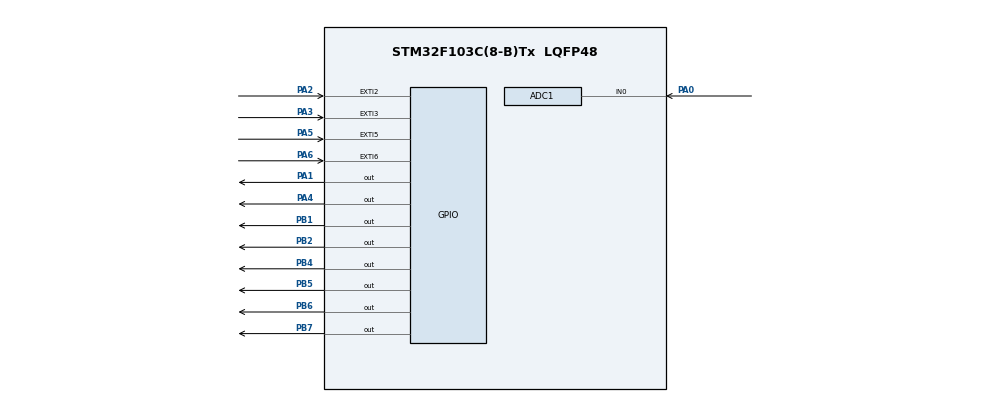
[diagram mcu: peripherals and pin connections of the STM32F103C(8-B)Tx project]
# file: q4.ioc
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ADC1.Channel-0\#ChannelRegularConversion=ADC_CHANNEL_0
ADC1.NbrOfConversionFlag=1
ADC1.Rank-0\#ChannelRegularConversion=1
ADC1.SamplingTime-0\#ChannelRegularConversion=ADC_SAMPLETIME_1CYCLE_5
ADC1.master=1
Mcu.Family=STM32F1
Mcu.Name=STM32F103C(8-B)Tx
Mcu.Package=LQFP48
NVIC.EXTI2_IRQn=true\:0\:0\:false\:false\:true\:true\:true\:true
NVIC.EXTI3_IRQn=true\:0\:0\:false\:false\:true\:true\:true\:true
NVIC.EXTI9_5_IRQn=true\:0\:0\:false\:false\:true\:true\:true\:true
NVIC.PriorityGroup=NVIC_PRIORITYGROUP_4
NVIC.TIM3_IRQn=true\:0\:0\:false\:false\:true\:true\:true\:true
PA0-WKUP.Signal=ADCx_IN0
PA1.Signal=GPIO_Output
PA2.GPIO_ModeDefaultEXTI=GPIO_MODE_IT_RISING_FALLING
PA2.Signal=GPXTI2
PA3.Signal=GPXTI3
PA4.Signal=GPIO_Output
PA5.GPIO_ModeDefaultEXTI=GPIO_MODE_IT_RISING_FALLING
PA5.Signal=GPXTI5
PA6.GPIO_ModeDefaultEXTI=GPIO_MODE_IT_RISING_FALLING
PA6.Signal=GPXTI6
PB1.Signal=GPIO_Output
PB2.Signal=GPIO_Output
PB4.Signal=GPIO_Output
PB5.Signal=GPIO_Output
PB6.Signal=GPIO_Output
PB7.Signal=GPIO_Output
ProjectManager.HeapSize=0x200
ProjectManager.StackSize=0x400
ProjectManager.TargetToolchain=STM32CubeIDE
RCC.APB1Freq_Value=8000000
RCC.APB2Freq_Value=8000000
SH.ADCx_IN0.0=ADC1_IN0,IN0
TIM3.Period=999
TIM3.Prescaler=7999
VP_SYS_VS_ND.Mode=No_Debug
VP_TIM3_VS_ClockSourceINT.Mode=Internal
board=custom

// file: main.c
/* USER CODE BEGIN Header */
/**
  ******************************************************************************
  * @file           : main.c
  * @brief          : Main program body (Q4 Part 2 - Optocounter)
  ******************************************************************************
  */
/* USER CODE END Header */
#include "main.h"

/* USER CODE BEGIN Includes */
#include "lcd.h"
#include <stdio.h>
/* USER CODE END Includes */

/* USER CODE BEGIN PD */
#define N_VALUE 28
#define PPR_VALUE 288
/* USER CODE END PD */

ADC_HandleTypeDef hadc1;

TIM_HandleTypeDef htim3;

/* USER CODE BEGIN PV */
volatile uint8_t update_display = 0;
char buffer1[16];
char buffer2[16];

// --- Part 2 Variables (Optocounter) ---
volatile uint32_t pulse_count = 0;
volatile float rpm = 0.0;

// --- Part 3 Variables (Encoder) ---
volatile int32_t encoder_ticks = 0;
volatile int32_t ticks_per_sec = 0;
volatile float enc_rpm = 0.0;
float angle_shaft = 0.0;

// LCD WIRING: RS=PB1, EN=PB2, D4-D7=PB4-PB7
Lcd_PortType ports[] = {GPIOB, GPIOB, GPIOB, GPIOB};
Lcd_PinType pins[] = {GPIO_PIN_4, GPIO_PIN_5, GPIO_PIN_6, GPIO_PIN_7};
Lcd_HandleTypeDef lcd;
/* USER CODE END PV */

void SystemClock_Config(void);
static void MX_GPIO_Init(void);
static void MX_ADC1_Init(void);
static void MX_TIM3_Init(void);

/* USER CODE BEGIN 0 */
// External Interrupt Callback (Counts Pulses on PA2)
void HAL_GPIO_EXTI_Callback(uint16_t GPIO_Pin) {

    // --- PART 2: Optocounter on PA2 ---
    if (GPIO_Pin == GPIO_PIN_2) {
        pulse_count++;
    }

    // --- PART 3: Encoder on PA5 and PA6 ---
    if (GPIO_Pin == GPIO_PIN_5 || GPIO_Pin == GPIO_PIN_6) {
        uint8_t state_A = HAL_GPIO_ReadPin(GPIOA, GPIO_PIN_5);
        uint8_t state_B = HAL_GPIO_ReadPin(GPIOA, GPIO_PIN_6);

        // Interrupt on Channel A (PA5)
        if (GPIO_Pin == GPIO_PIN_5) {
            if (state_A == state_B) { encoder_ticks++; ticks_per_sec++; }
            else { encoder_ticks--; ticks_per_sec--; }
        }

        // Interrupt on Channel B (PA6)
        if (GPIO_Pin == GPIO_PIN_6) {
            if (state_A != state_B) { encoder_ticks++; ticks_per_sec++; }
            else { encoder_ticks--; ticks_per_sec--; }
        }
    }
}

// Merged Timer Callback (Calculates both RPMs every 1 second)
void HAL_TIM_PeriodElapsedCallback(TIM_HandleTypeDef *htim) {
    if (htim->Instance == TIM3) {

        // --- PART 2 Math ---
        rpm = ((float)pulse_count * 60.0) / (float)N_VALUE;
        pulse_count = 0;

        // Optocounter LED Warning on PA4
        if (rpm > 500.0) {
            HAL_GPIO_TogglePin(GPIOA, GPIO_PIN_4);
        } else {
            HAL_GPIO_WritePin(GPIOA, GPIO_PIN_4, GPIO_PIN_RESET);
        }

        // --- PART 3 Math ---
        float tps = (ticks_per_sec < 0) ? -ticks_per_sec : ticks_per_sec;
        enc_rpm = (tps * 60.0) / (4.0 * PPR_VALUE);
        ticks_per_sec = 0;

        // Trigger Display Update
        update_display = 1;
    }
}
/* USER CODE END 0 */

int main(void)
{

  /* MCU Configuration--------------------------------------------------------*/

  /* Reset of all peripherals, Initializes the Flash interface and the Systick. */
  HAL_Init();

  /* Configure the system clock */
  SystemClock_Config();

  /* Initialize all configured peripherals */
  MX_GPIO_Init();
  MX_ADC1_Init();
  MX_TIM3_Init();
  /* USER CODE BEGIN 2 */
  // Initialize LCD: RS=PB1, EN=PB2
  lcd = Lcd_create(ports, pins, GPIOB, GPIO_PIN_1, GPIOB, GPIO_PIN_2, LCD_4_BIT_MODE);
  Lcd_clear(&lcd);

  // Start the 1-second timer interrupt on TIM3
  HAL_TIM_Base_Start_IT(&htim3);
  /* USER CODE END 2 */

  /* Infinite loop */
  /* USER CODE BEGIN WHILE */
  while (1)
  {
	  int32_t ticks_normalized = encoder_ticks % (4 * PPR_VALUE);
	        if (ticks_normalized < 0) ticks_normalized += (4 * PPR_VALUE);
	        angle_shaft = (float)ticks_normalized * (360.0 / (4.0 * PPR_VALUE));

	        // --- LCD Update ---
	        if (update_display) {
	            // Line 1: Part 2 (Optocounter RPM)
	            sprintf(buffer1, "P2 RPM: %.1f", rpm);
	            // Line 2: Part 3 (Encoder RPM and Angle)
	            sprintf(buffer2, "R:%.1f A:%.0f", enc_rpm, angle_shaft);

	            Lcd_clear(&lcd);
	            Lcd_cursor(&lcd, 0, 0);
	            Lcd_string(&lcd, buffer1);
	            Lcd_cursor(&lcd, 1, 0);
	            Lcd_string(&lcd, buffer2);

	            update_display = 0;
	        }

	        // Delay to prevent simulation freezing
	        for(volatile int d = 0; d < 50000; d++){}
    /* USER CODE END WHILE */

  }
}

void SystemClock_Config(void)
{
  RCC_OscInitTypeDef RCC_OscInitStruct = {0};
  RCC_ClkInitTypeDef RCC_ClkInitStruct = {0};
  RCC_PeriphCLKInitTypeDef PeriphClkInit = {0};

  /** Initializes the RCC Oscillators according to the specified parameters
  * in the RCC_OscInitTypeDef structure.
  */
  RCC_OscInitStruct.OscillatorType = RCC_OSCILLATORTYPE_HSI;
  RCC_OscInitStruct.HSIState = RCC_HSI_ON;
  RCC_OscInitStruct.HSICalibrationValue = RCC_HSICALIBRATION_DEFAULT;
  RCC_OscInitStruct.PLL.PLLState = RCC_PLL_NONE;
  if (HAL_RCC_OscConfig(&RCC_OscInitStruct) != HAL_OK)
  {
    Error_Handler();
  }

  /** Initializes the CPU, AHB and APB buses clocks
  */
  RCC_ClkInitStruct.ClockType = RCC_CLOCKTYPE_HCLK|RCC_CLOCKTYPE_SYSCLK
                              |RCC_CLOCKTYPE_PCLK1|RCC_CLOCKTYPE_PCLK2;
  RCC_ClkInitStruct.SYSCLKSource = RCC_SYSCLKSOURCE_HSI;
  RCC_ClkInitStruct.AHBCLKDivider = RCC_SYSCLK_DIV1;
  RCC_ClkInitStruct.APB1CLKDivider = RCC_HCLK_DIV1;
  RCC_ClkInitStruct.APB2CLKDivider = RCC_HCLK_DIV1;

  if (HAL_RCC_ClockConfig(&RCC_ClkInitStruct, FLASH_LATENCY_0) != HAL_OK)
  {
    Error_Handler();
  }
  PeriphClkInit.PeriphClockSelection = RCC_PERIPHCLK_ADC;
  PeriphClkInit.AdcClockSelection = RCC_ADCPCLK2_DIV2;
  if (HAL_RCCEx_PeriphCLKConfig(&PeriphClkInit) != HAL_OK)
  {
    Error_Handler();
  }
}

static void MX_ADC1_Init(void)
{

  ADC_ChannelConfTypeDef sConfig = {0};

  /** Common config
  */
  hadc1.Instance = ADC1;
  hadc1.Init.ScanConvMode = ADC_SCAN_DISABLE;
  hadc1.Init.ContinuousConvMode = DISABLE;
  hadc1.Init.DiscontinuousConvMode = DISABLE;
  hadc1.Init.ExternalTrigConv = ADC_SOFTWARE_START;
  hadc1.Init.DataAlign = ADC_DATAALIGN_RIGHT;
  hadc1.Init.NbrOfConversion = 1;
  if (HAL_ADC_Init(&hadc1) != HAL_OK)
  {
    Error_Handler();
  }

  /** Configure Regular Channel
  */
  sConfig.Channel = ADC_CHANNEL_0;
  sConfig.Rank = ADC_REGULAR_RANK_1;
  sConfig.SamplingTime = ADC_SAMPLETIME_1CYCLE_5;
  if (HAL_ADC_ConfigChannel(&hadc1, &sConfig) != HAL_OK)
  {
    Error_Handler();
  }

}

static void MX_TIM3_Init(void)
{

  TIM_ClockConfigTypeDef sClockSourceConfig = {0};
  TIM_MasterConfigTypeDef sMasterConfig = {0};

  htim3.Instance = TIM3;
  htim3.Init.Prescaler = 7999;
  htim3.Init.CounterMode = TIM_COUNTERMODE_UP;
  htim3.Init.Period = 999;
  htim3.Init.ClockDivision = TIM_CLOCKDIVISION_DIV1;
  htim3.Init.AutoReloadPreload = TIM_AUTORELOAD_PRELOAD_DISABLE;
  if (HAL_TIM_Base_Init(&htim3) != HAL_OK)
  {
    Error_Handler();
  }
  sClockSourceConfig.ClockSource = TIM_CLOCKSOURCE_INTERNAL;
  if (HAL_TIM_ConfigClockSource(&htim3, &sClockSourceConfig) != HAL_OK)
  {
    Error_Handler();
  }
  sMasterConfig.MasterOutputTrigger = TIM_TRGO_RESET;
  sMasterConfig.MasterSlaveMode = TIM_MASTERSLAVEMODE_DISABLE;
  if (HAL_TIMEx_MasterConfigSynchronization(&htim3, &sMasterConfig) != HAL_OK)
  {
    Error_Handler();
  }

}

static void MX_GPIO_Init(void)
{
  GPIO_InitTypeDef GPIO_InitStruct = {0};

  /* GPIO Ports Clock Enable */
  __HAL_RCC_GPIOA_CLK_ENABLE();
  __HAL_RCC_GPIOB_CLK_ENABLE();

  /*Configure GPIO pin Output Level */
  HAL_GPIO_WritePin(GPIOA, GPIO_PIN_1|GPIO_PIN_4, GPIO_PIN_RESET);

  /*Configure GPIO pin Output Level */
  HAL_GPIO_WritePin(GPIOB, GPIO_PIN_1|GPIO_PIN_2|GPIO_PIN_4|GPIO_PIN_5
                          |GPIO_PIN_6|GPIO_PIN_7, GPIO_PIN_RESET);

  /*Configure GPIO pins : PA1 PA4 */
  GPIO_InitStruct.Pin = GPIO_PIN_1|GPIO_PIN_4;
  GPIO_InitStruct.Mode = GPIO_MODE_OUTPUT_PP;
  GPIO_InitStruct.Pull = GPIO_NOPULL;
  GPIO_InitStruct.Speed = GPIO_SPEED_FREQ_LOW;
  HAL_GPIO_Init(GPIOA, &GPIO_InitStruct);

  /*Configure GPIO pins : PA2 PA5 PA6 */
  GPIO_InitStruct.Pin = GPIO_PIN_2|GPIO_PIN_5|GPIO_PIN_6;
  GPIO_InitStruct.Mode = GPIO_MODE_IT_RISING_FALLING;
  GPIO_InitStruct.Pull = GPIO_NOPULL;
  HAL_GPIO_Init(GPIOA, &GPIO_InitStruct);

  /*Configure GPIO pin : PA3 */
  GPIO_InitStruct.Pin = GPIO_PIN_3;
  GPIO_InitStruct.Mode = GPIO_MODE_IT_RISING;
  GPIO_InitStruct.Pull = GPIO_NOPULL;
  HAL_GPIO_Init(GPIOA, &GPIO_InitStruct);

  /*Configure GPIO pins : PB1 PB2 PB4 PB5
                           PB6 PB7 */
  GPIO_InitStruct.Pin = GPIO_PIN_1|GPIO_PIN_2|GPIO_PIN_4|GPIO_PIN_5
                          |GPIO_PIN_6|GPIO_PIN_7;
  GPIO_InitStruct.Mode = GPIO_MODE_OUTPUT_PP;
  GPIO_InitStruct.Pull = GPIO_NOPULL;
  GPIO_InitStruct.Speed = GPIO_SPEED_FREQ_LOW;
  HAL_GPIO_Init(GPIOB, &GPIO_InitStruct);

  /* EXTI interrupt init*/
  HAL_NVIC_SetPriority(EXTI2_IRQn, 0, 0);
  HAL_NVIC_EnableIRQ(EXTI2_IRQn);

  HAL_NVIC_SetPriority(EXTI3_IRQn, 0, 0);
  HAL_NVIC_EnableIRQ(EXTI3_IRQn);

  HAL_NVIC_SetPriority(EXTI9_5_IRQn, 0, 0);
  HAL_NVIC_EnableIRQ(EXTI9_5_IRQn);

}

void Error_Handler(void)
{
  __disable_irq();
  while (1)
  {
  }
}
